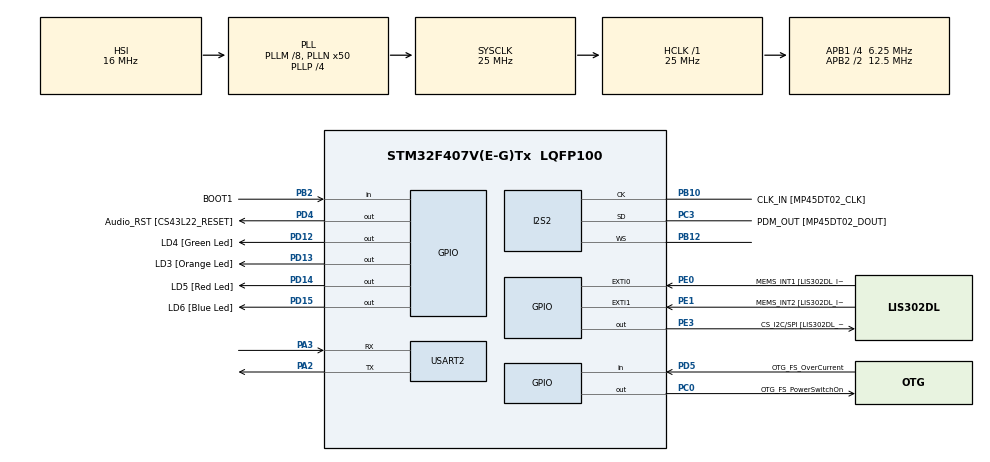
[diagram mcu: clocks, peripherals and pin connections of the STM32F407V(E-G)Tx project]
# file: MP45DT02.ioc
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I2S2.AudioFreq=I2S_AUDIOFREQ_192K
I2S2.ErrorAudioFreq=0.8 %
I2S2.Mode=I2S_MODE_MASTER_RX
I2S2.RealAudioFreq=193.548 KHz
Mcu.Family=STM32F4
Mcu.Name=STM32F407V(E-G)Tx
Mcu.Package=LQFP100
NVIC.PriorityGroup=NVIC_PRIORITYGROUP_0
PA10.GPIO_Label=OTG_FS_ID
PA10.GPIO_Mode=GPIO_MODE_AF_PP
PA10.GPIO_PuPd=GPIO_NOPULL
PA10.GPIO_Speed=GPIO_SPEED_FREQ_LOW
PA10.Signal=USB_OTG_FS_ID
PA11.GPIO_Label=OTG_FS_DM
PA11.GPIO_Mode=GPIO_MODE_AF_PP
PA11.GPIO_PuPd=GPIO_NOPULL
PA11.GPIO_Speed=GPIO_SPEED_FREQ_LOW
PA11.Signal=USB_OTG_FS_DM
PA12.GPIO_Label=OTG_FS_DP
PA12.GPIO_Mode=GPIO_MODE_AF_PP
PA12.GPIO_PuPd=GPIO_NOPULL
PA12.GPIO_Speed=GPIO_SPEED_FREQ_LOW
PA12.Signal=USB_OTG_FS_DP
PA13.GPIO_Label=SWDIO
PA13.Signal=SYS_JTMS-SWDIO
PA14.GPIO_Label=SWCLK
PA14.Signal=SYS_JTCK-SWCLK
PA2.Mode=Asynchronous
PA2.Signal=USART2_TX
PA3.Mode=Asynchronous
PA3.Signal=USART2_RX
PA4.GPIO_Label=I2S3_WS [CS43L22_LRCK]
PA4.GPIO_Mode=GPIO_MODE_AF_PP
PA4.GPIO_PuPd=GPIO_NOPULL
PA4.GPIO_Speed=GPIO_SPEED_FREQ_LOW
PA4.Signal=I2S3_WS
PA5.GPIO_Label=SPI1_SCK [LIS302DL_SCL/SPC]
PA5.GPIO_Mode=GPIO_MODE_AF_PP
PA5.GPIO_PuPd=GPIO_NOPULL
PA5.GPIO_Speed=GPIO_SPEED_FREQ_LOW
PA5.Signal=SPI1_SCK
PA6.GPIO_Label=SPI1_MISO [LIS302DL_SDO]
PA6.GPIO_Mode=GPIO_MODE_AF_PP
PA6.GPIO_PuPd=GPIO_NOPULL
PA6.GPIO_Speed=GPIO_SPEED_FREQ_LOW
PA6.Signal=SPI1_MISO
PA7.GPIO_Label=SPI1_MOSI [LIS302DL_SDA/SDI/SDO]
PA7.GPIO_Mode=GPIO_MODE_AF_PP
PA7.GPIO_PuPd=GPIO_NOPULL
PA7.GPIO_Speed=GPIO_SPEED_FREQ_LOW
PA7.Signal=SPI1_MOSI
PA9.GPIO_Label=VBUS_FS
PA9.GPIO_Mode=GPIO_MODE_INPUT
PA9.GPIO_PuPd=GPIO_NOPULL
PA9.Signal=USB_OTG_FS_VBUS
PB10.GPIO_Label=CLK_IN [MP45DT02_CLK]
PB10.GPIO_Mode=GPIO_MODE_AF_PP
PB10.GPIO_PuPd=GPIO_NOPULL
PB10.GPIO_Speed=GPIO_SPEED_FREQ_LOW
PB10.Mode=Half_Duplex_Master
PB10.Signal=I2S2_CK
PB12.Mode=Half_Duplex_Master
PB12.Signal=I2S2_WS
PB2.GPIO_Label=BOOT1
PB2.GPIO_Mode=GPIO_MODE_INPUT
PB2.GPIO_PuPd=GPIO_NOPULL
PB2.Signal=GPIO_Input
PB3.GPIO_Label=SWO
PB3.Signal=SYS_JTDO-SWO
PB6.GPIO_Label=Audio_SCL [CS43L22_SCL]
PB6.GPIO_Mode=GPIO_MODE_AF_OD
PB6.GPIO_PuPd=GPIO_NOPULL
PB6.GPIO_Speed=GPIO_SPEED_FREQ_LOW
PB6.Signal=I2C1_SCL
PB9.GPIO_Label=Audio_SDA [CS43L22_SDA]
PB9.GPIO_Mode=GPIO_MODE_AF_OD
PB9.GPIO_PuPd=GPIO_NOPULL
PB9.GPIO_Speed=GPIO_SPEED_FREQ_LOW
PB9.Signal=I2C1_SDA
PC0.GPIO_Label=OTG_FS_PowerSwitchOn
PC0.GPIO_PuPd=GPIO_NOPULL
PC0.GPIO_Speed=GPIO_SPEED_FREQ_LOW
PC0.PinState=GPIO_PIN_SET
PC0.Signal=GPIO_Output
PC10.GPIO_Label=I2S3_SCK [CS43L22_SCLK]
PC10.GPIO_Mode=GPIO_MODE_AF_PP
PC10.GPIO_PuPd=GPIO_NOPULL
PC10.GPIO_Speed=GPIO_SPEED_FREQ_LOW
PC10.Signal=I2S3_CK
PC12.GPIO_Label=I2S3_SD [CS43L22_SDIN]
PC12.GPIO_Mode=GPIO_MODE_AF_PP
PC12.GPIO_PuPd=GPIO_NOPULL
PC12.GPIO_Speed=GPIO_SPEED_FREQ_LOW
PC12.Signal=I2S3_SD
PC14-OSC32_IN.GPIO_Label=PC14-OSC32_IN
PC14-OSC32_IN.Signal=RCC_OSC32_IN
PC15-OSC32_OUT.GPIO_Label=PC15-OSC32_OUT
PC15-OSC32_OUT.Signal=RCC_OSC32_OUT
PC3.GPIO_Label=PDM_OUT [MP45DT02_DOUT]
PC3.GPIO_Mode=GPIO_MODE_AF_PP
PC3.GPIO_PuPd=GPIO_NOPULL
PC3.GPIO_Speed=GPIO_SPEED_FREQ_LOW
PC3.Mode=Half_Duplex_Master
PC3.Signal=I2S2_SD
PC7.GPIO_Label=I2S3_MCK [CS43L22_MCLK]
PC7.GPIO_Mode=GPIO_MODE_AF_PP
PC7.GPIO_PuPd=GPIO_NOPULL
PC7.GPIO_Speed=GPIO_SPEED_FREQ_LOW
PC7.Signal=I2S3_MCK
PD12.GPIO_Label=LD4 [Green Led]
PD12.GPIO_PuPd=GPIO_NOPULL
PD12.GPIO_Speed=GPIO_SPEED_FREQ_LOW
PD12.Signal=GPIO_Output
PD13.GPIO_Label=LD3 [Orange Led]
PD13.GPIO_PuPd=GPIO_NOPULL
PD13.GPIO_Speed=GPIO_SPEED_FREQ_LOW
PD13.Signal=GPIO_Output
PD14.GPIO_Label=LD5 [Red Led]
PD14.GPIO_PuPd=GPIO_NOPULL
PD14.GPIO_Speed=GPIO_SPEED_FREQ_LOW
PD14.Signal=GPIO_Output
PD15.GPIO_Label=LD6 [Blue Led]
PD15.GPIO_PuPd=GPIO_NOPULL
PD15.GPIO_Speed=GPIO_SPEED_FREQ_LOW
PD15.Signal=GPIO_Output
PD4.GPIO_Label=Audio_RST [CS43L22_RESET]
PD4.GPIO_PuPd=GPIO_NOPULL
PD4.GPIO_Speed=GPIO_SPEED_FREQ_LOW
PD4.Signal=GPIO_Output
PD5.GPIO_Label=OTG_FS_OverCurrent
PD5.GPIO_Mode=GPIO_MODE_INPUT
PD5.GPIO_PuPd=GPIO_NOPULL
PD5.Signal=GPIO_Input
PE0.GPIO_Label=MEMS_INT1 [LIS302DL_INT1]
PE0.Signal=GPXTI0
PE1.GPIO_Label=MEMS_INT2 [LIS302DL_INT2]
PE1.GPIO_ModeDefaultEXTI=GPIO_MODE_EVT_RISING
PE1.GPIO_PuPd=GPIO_NOPULL
PE1.Signal=GPXTI1
PE3.GPIO_Label=CS_I2C/SPI [LIS302DL_CS_I2C/SPI]
PE3.GPIO_PuPd=GPIO_NOPULL
PE3.GPIO_Speed=GPIO_SPEED_FREQ_LOW
PE3.Signal=GPIO_Output
PH0-OSC_IN.GPIO_Label=PH0-OSC_IN
PH0-OSC_IN.Signal=RCC_OSC_IN
PH1-OSC_OUT.GPIO_Label=PH1-OSC_OUT
PH1-OSC_OUT.Signal=RCC_OSC_OUT
ProjectManager.HeapSize=0x200
ProjectManager.StackSize=0x400
ProjectManager.TargetToolchain=MDK-ARM V5
RCC.48MHZClocksFreq_Value=14285714.285714285
RCC.AHBFreq_Value=25000000
RCC.APB1CLKDivider=RCC_HCLK_DIV4
RCC.APB1Freq_Value=6250000
RCC.APB1TimFreq_Value=12500000
RCC.APB2CLKDivider=RCC_HCLK_DIV2
RCC.APB2Freq_Value=12500000
RCC.APB2TimFreq_Value=25000000
RCC.CortexFreq_Value=25000000
RCC.HCLKFreq_Value=25000000
RCC.HSE_VALUE=8000000
RCC.HSI_VALUE=16000000
RCC.LSE_VALUE=32768
RCC.PLLM=8
RCC.PLLN=50
RCC.PLLP=RCC_PLLP_DIV4
RCC.PLLQ=7
RCC.SYSCLKFreq_VALUE=25000000
RCC.SYSCLKSource=RCC_SYSCLKSOURCE_PLLCLK
RCC.VCOOutputFreq_Value=100000000
board=STM32F407G-DISC1

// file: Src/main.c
/**
  ******************************************************************************
  * File Name          : main.c
  * Description        : Main program body
  ******************************************************************************
  *
  * COPYRIGHT(c) 2016 STMicroelectronics
  *
  * Redistribution and use in source and binary forms, with or without modification,
  * are permitted provided that the following conditions are met:
  *   1. Redistributions of source code must retain the above copyright notice,
  *      this list of conditions and the following disclaimer.
  *   2. Redistributions in binary form must reproduce the above copyright notice,
  *      this list of conditions and the following disclaimer in the documentation
  *      and/or other materials provided with the distribution.
  *   3. Neither the name of STMicroelectronics nor the names of its contributors
  *      may be used to endorse or promote products derived from this software
  *      without specific prior written permission.
  *
  * THIS SOFTWARE IS PROVIDED BY THE COPYRIGHT HOLDERS AND CONTRIBUTORS "AS IS"
  * AND ANY EXPRESS OR IMPLIED WARRANTIES, INCLUDING, BUT NOT LIMITED TO, THE
  * IMPLIED WARRANTIES OF MERCHANTABILITY AND FITNESS FOR A PARTICULAR PURPOSE ARE
  * DISCLAIMED. IN NO EVENT SHALL THE COPYRIGHT HOLDER OR CONTRIBUTORS BE LIABLE
  * FOR ANY DIRECT, INDIRECT, INCIDENTAL, SPECIAL, EXEMPLARY, OR CONSEQUENTIAL
  * DAMAGES (INCLUDING, BUT NOT LIMITED TO, PROCUREMENT OF SUBSTITUTE GOODS OR
  * SERVICES; LOSS OF USE, DATA, OR PROFITS; OR BUSINESS INTERRUPTION) HOWEVER
  * CAUSED AND ON ANY THEORY OF LIABILITY, WHETHER IN CONTRACT, STRICT LIABILITY,
  * OR TORT (INCLUDING NEGLIGENCE OR OTHERWISE) ARISING IN ANY WAY OUT OF THE USE
  * OF THIS SOFTWARE, EVEN IF ADVISED OF THE POSSIBILITY OF SUCH DAMAGE.
  *
  ******************************************************************************
  */
#include "main.h"
#include "stm32f4xx_hal.h"

/* USER CODE BEGIN Includes */
#include <string.h>
#include <limits.h>
/* USER CODE END Includes */

I2S_HandleTypeDef hi2s2;

UART_HandleTypeDef huart2;

/* USER CODE BEGIN PV */
/* Private variables ---------------------------------------------------------*/
#define PDM_BUFFER_SIZE 20
#define LEAKY_KEEP_RATE 0.95
#define PDM_BLOCK_SIZE_BITS 8
/* USER CODE END PV */

void SystemClock_Config(void);
void Error_Handler(void);
static void MX_GPIO_Init(void);
static void MX_I2S2_Init(void);
static void MX_USART2_UART_Init(void);

/* USER CODE BEGIN PFP */
/* Private function prototypes -----------------------------------------------*/
float float_abs(float);
int abs(int);
/* USER CODE END PFP */

/* USER CODE BEGIN 0 */
uint16_t pdm_buffer[PDM_BUFFER_SIZE]; // Buffer for pdm value from hi2s2 (Mic)
uint16_t pdm_value=0;
int8_t  pcm_value=0;                 // For keeping pcm value calculated from pdm_value

float leaky_pcm_buffer = 0.0;         // Fast Estimation of moving average of PDM
float leaky_amp_buffer = 0.0;         // Fast Estimation of moving average of abs(PCM)

/* USER CODE END 0 */

int main(void)
{

  /* USER CODE BEGIN 1 */
	uint32_t i;
	char out[100];
  uint16_t size = 0;
	float mx_amp = 0;
  uint16_t mx_count = 0;
  /* USER CODE END 1 */

  /* MCU Configuration----------------------------------------------------------*/

  /* Reset of all peripherals, Initializes the Flash interface and the Systick. */
  HAL_Init();

  /* Configure the system clock */
  SystemClock_Config();

  /* Initialize all configured peripherals */
  MX_GPIO_Init();
  MX_I2S2_Init();
  MX_USART2_UART_Init();

  /* USER CODE BEGIN 2 */
	HAL_GPIO_WritePin(GPIOD,GPIO_PIN_13,GPIO_PIN_SET);
  /* USER CODE END 2 */

  /* Infinite loop */
  while (1)
  {

  /* USER CODE BEGIN 3 */
		// Receive PDM from Mic
		HAL_I2S_Receive(&hi2s2, pdm_buffer, PDM_BUFFER_SIZE, 1000);

		for(i=0; i<PDM_BUFFER_SIZE; i++){
			pcm_value = - (PDM_BLOCK_SIZE_BITS/2);
      pdm_value = pdm_buffer[i];
      // calculate PCM value
      while ( pdm_value != 0 )                     // while pdm_value still have 1s in binary
      {
        pcm_value ++;
        pdm_value ^= pdm_value & -pdm_value;       // remove left most 1 in binary
      }
      leaky_pcm_buffer += pcm_value;
      leaky_pcm_buffer *= LEAKY_KEEP_RATE;
      leaky_amp_buffer += float_abs(leaky_pcm_buffer);
      leaky_amp_buffer *= LEAKY_KEEP_RATE;
		}
		mx_count++; // count sample
		if(mx_amp < leaky_amp_buffer) mx_amp = leaky_amp_buffer;
		if(mx_count == 1000){
    	size = sprintf(out, "volume : %d\n\r", (int)mx_amp);
    	HAL_UART_Transmit(&huart2, (uint8_t*)out, size, 100);
    	mx_count = 0;
    	mx_amp = 0;
    }
  }
  /* USER CODE END 3 */

}

/** System Clock Configuration
*/
void SystemClock_Config(void)
{

  RCC_OscInitTypeDef RCC_OscInitStruct;
  RCC_ClkInitTypeDef RCC_ClkInitStruct;
  RCC_PeriphCLKInitTypeDef PeriphClkInitStruct;

    /**Configure the main internal regulator output voltage
    */
  __HAL_RCC_PWR_CLK_ENABLE();

  __HAL_PWR_VOLTAGESCALING_CONFIG(PWR_REGULATOR_VOLTAGE_SCALE1);

    /**Initializes the CPU, AHB and APB busses clocks
    */
  RCC_OscInitStruct.OscillatorType = RCC_OSCILLATORTYPE_HSI;
  RCC_OscInitStruct.HSIState = RCC_HSI_ON;
  RCC_OscInitStruct.HSICalibrationValue = 16;
  RCC_OscInitStruct.PLL.PLLState = RCC_PLL_ON;
  RCC_OscInitStruct.PLL.PLLSource = RCC_PLLSOURCE_HSI;
  RCC_OscInitStruct.PLL.PLLM = 8;
  RCC_OscInitStruct.PLL.PLLN = 50;
  RCC_OscInitStruct.PLL.PLLP = RCC_PLLP_DIV4;
  RCC_OscInitStruct.PLL.PLLQ = 7;
  if (HAL_RCC_OscConfig(&RCC_OscInitStruct) != HAL_OK)
  {
    Error_Handler();
  }

    /**Initializes the CPU, AHB and APB busses clocks
    */
  RCC_ClkInitStruct.ClockType = RCC_CLOCKTYPE_HCLK|RCC_CLOCKTYPE_SYSCLK
                              |RCC_CLOCKTYPE_PCLK1|RCC_CLOCKTYPE_PCLK2;
  RCC_ClkInitStruct.SYSCLKSource = RCC_SYSCLKSOURCE_PLLCLK;
  RCC_ClkInitStruct.AHBCLKDivider = RCC_SYSCLK_DIV1;
  RCC_ClkInitStruct.APB1CLKDivider = RCC_HCLK_DIV4;
  RCC_ClkInitStruct.APB2CLKDivider = RCC_HCLK_DIV2;

  if (HAL_RCC_ClockConfig(&RCC_ClkInitStruct, FLASH_LATENCY_0) != HAL_OK)
  {
    Error_Handler();
  }

  PeriphClkInitStruct.PeriphClockSelection = RCC_PERIPHCLK_I2S;
  PeriphClkInitStruct.PLLI2S.PLLI2SN = 192;
  PeriphClkInitStruct.PLLI2S.PLLI2SR = 2;
  if (HAL_RCCEx_PeriphCLKConfig(&PeriphClkInitStruct) != HAL_OK)
  {
    Error_Handler();
  }

    /**Configure the Systick interrupt time
    */
  HAL_SYSTICK_Config(HAL_RCC_GetHCLKFreq()/1000);

    /**Configure the Systick
    */
  HAL_SYSTICK_CLKSourceConfig(SYSTICK_CLKSOURCE_HCLK);

  /* SysTick_IRQn interrupt configuration */
  HAL_NVIC_SetPriority(SysTick_IRQn, 0, 0);
}

/* I2S2 init function */
static void MX_I2S2_Init(void)
{

  hi2s2.Instance = SPI2;
  hi2s2.Init.Mode = I2S_MODE_MASTER_RX;
  hi2s2.Init.Standard = I2S_STANDARD_PHILIPS;
  hi2s2.Init.DataFormat = I2S_DATAFORMAT_16B;
  hi2s2.Init.MCLKOutput = I2S_MCLKOUTPUT_DISABLE;
  hi2s2.Init.AudioFreq = I2S_AUDIOFREQ_192K;
  hi2s2.Init.CPOL = I2S_CPOL_LOW;
  hi2s2.Init.ClockSource = I2S_CLOCK_PLL;
  hi2s2.Init.FullDuplexMode = I2S_FULLDUPLEXMODE_DISABLE;
  if (HAL_I2S_Init(&hi2s2) != HAL_OK)
  {
    Error_Handler();
  }

}

/* USART2 init function */
static void MX_USART2_UART_Init(void)
{

  huart2.Instance = USART2;
  huart2.Init.BaudRate = 115200;
  huart2.Init.WordLength = UART_WORDLENGTH_8B;
  huart2.Init.StopBits = UART_STOPBITS_1;
  huart2.Init.Parity = UART_PARITY_NONE;
  huart2.Init.Mode = UART_MODE_TX_RX;
  huart2.Init.HwFlowCtl = UART_HWCONTROL_NONE;
  huart2.Init.OverSampling = UART_OVERSAMPLING_16;
  if (HAL_UART_Init(&huart2) != HAL_OK)
  {
    Error_Handler();
  }

}

/** Configure pins as
        * Analog
        * Input
        * Output
        * EVENT_OUT
        * EXTI
     PA4   ------> I2S3_WS
     PA5   ------> SPI1_SCK
     PA6   ------> SPI1_MISO
     PA7   ------> SPI1_MOSI
     PC7   ------> I2S3_MCK
     PA9   ------> USB_OTG_FS_VBUS
     PA10   ------> USB_OTG_FS_ID
     PA11   ------> USB_OTG_FS_DM
     PA12   ------> USB_OTG_FS_DP
     PC10   ------> I2S3_CK
     PC12   ------> I2S3_SD
     PB6   ------> I2C1_SCL
     PB9   ------> I2C1_SDA
*/
static void MX_GPIO_Init(void)
{

  GPIO_InitTypeDef GPIO_InitStruct;

  /* GPIO Ports Clock Enable */
  __HAL_RCC_GPIOE_CLK_ENABLE();
  __HAL_RCC_GPIOC_CLK_ENABLE();
  __HAL_RCC_GPIOH_CLK_ENABLE();
  __HAL_RCC_GPIOA_CLK_ENABLE();
  __HAL_RCC_GPIOB_CLK_ENABLE();
  __HAL_RCC_GPIOD_CLK_ENABLE();

  /*Configure GPIO pin Output Level */
  HAL_GPIO_WritePin(CS_I2C_SPI_GPIO_Port, CS_I2C_SPI_Pin, GPIO_PIN_RESET);

  /*Configure GPIO pin Output Level */
  HAL_GPIO_WritePin(OTG_FS_PowerSwitchOn_GPIO_Port, OTG_FS_PowerSwitchOn_Pin, GPIO_PIN_SET);

  /*Configure GPIO pin Output Level */
  HAL_GPIO_WritePin(GPIOD, LD4_Pin|LD3_Pin|LD5_Pin|LD6_Pin
                          |Audio_RST_Pin, GPIO_PIN_RESET);

  /*Configure GPIO pin : CS_I2C_SPI_Pin */
  GPIO_InitStruct.Pin = CS_I2C_SPI_Pin;
  GPIO_InitStruct.Mode = GPIO_MODE_OUTPUT_PP;
  GPIO_InitStruct.Pull = GPIO_NOPULL;
  GPIO_InitStruct.Speed = GPIO_SPEED_FREQ_LOW;
  HAL_GPIO_Init(CS_I2C_SPI_GPIO_Port, &GPIO_InitStruct);

  /*Configure GPIO pin : OTG_FS_PowerSwitchOn_Pin */
  GPIO_InitStruct.Pin = OTG_FS_PowerSwitchOn_Pin;
  GPIO_InitStruct.Mode = GPIO_MODE_OUTPUT_PP;
  GPIO_InitStruct.Pull = GPIO_NOPULL;
  GPIO_InitStruct.Speed = GPIO_SPEED_FREQ_LOW;
  HAL_GPIO_Init(OTG_FS_PowerSwitchOn_GPIO_Port, &GPIO_InitStruct);

  /*Configure GPIO pin : PA4 */
  GPIO_InitStruct.Pin = GPIO_PIN_4;
  GPIO_InitStruct.Mode = GPIO_MODE_AF_PP;
  GPIO_InitStruct.Pull = GPIO_NOPULL;
  GPIO_InitStruct.Speed = GPIO_SPEED_FREQ_LOW;
  GPIO_InitStruct.Alternate = GPIO_AF6_SPI3;
  HAL_GPIO_Init(GPIOA, &GPIO_InitStruct);

  /*Configure GPIO pins : PA5 PA6 PA7 */
  GPIO_InitStruct.Pin = GPIO_PIN_5|GPIO_PIN_6|GPIO_PIN_7;
  GPIO_InitStruct.Mode = GPIO_MODE_AF_PP;
  GPIO_InitStruct.Pull = GPIO_NOPULL;
  GPIO_InitStruct.Speed = GPIO_SPEED_FREQ_LOW;
  GPIO_InitStruct.Alternate = GPIO_AF5_SPI1;
  HAL_GPIO_Init(GPIOA, &GPIO_InitStruct);

  /*Configure GPIO pin : BOOT1_Pin */
  GPIO_InitStruct.Pin = BOOT1_Pin;
  GPIO_InitStruct.Mode = GPIO_MODE_INPUT;
  GPIO_InitStruct.Pull = GPIO_NOPULL;
  HAL_GPIO_Init(BOOT1_GPIO_Port, &GPIO_InitStruct);

  /*Configure GPIO pins : LD4_Pin LD3_Pin LD5_Pin LD6_Pin
                           Audio_RST_Pin */
  GPIO_InitStruct.Pin = LD4_Pin|LD3_Pin|LD5_Pin|LD6_Pin
                          |Audio_RST_Pin;
  GPIO_InitStruct.Mode = GPIO_MODE_OUTPUT_PP;
  GPIO_InitStruct.Pull = GPIO_NOPULL;
  GPIO_InitStruct.Speed = GPIO_SPEED_FREQ_LOW;
  HAL_GPIO_Init(GPIOD, &GPIO_InitStruct);

  /*Configure GPIO pins : PC7 I2S3_SCK_Pin PC12 */
  GPIO_InitStruct.Pin = GPIO_PIN_7|I2S3_SCK_Pin|GPIO_PIN_12;
  GPIO_InitStruct.Mode = GPIO_MODE_AF_PP;
  GPIO_InitStruct.Pull = GPIO_NOPULL;
  GPIO_InitStruct.Speed = GPIO_SPEED_FREQ_LOW;
  GPIO_InitStruct.Alternate = GPIO_AF6_SPI3;
  HAL_GPIO_Init(GPIOC, &GPIO_InitStruct);

  /*Configure GPIO pin : VBUS_FS_Pin */
  GPIO_InitStruct.Pin = VBUS_FS_Pin;
  GPIO_InitStruct.Mode = GPIO_MODE_INPUT;
  GPIO_InitStruct.Pull = GPIO_NOPULL;
  HAL_GPIO_Init(VBUS_FS_GPIO_Port, &GPIO_InitStruct);

  /*Configure GPIO pins : OTG_FS_ID_Pin OTG_FS_DM_Pin OTG_FS_DP_Pin */
  GPIO_InitStruct.Pin = OTG_FS_ID_Pin|OTG_FS_DM_Pin|OTG_FS_DP_Pin;
  GPIO_InitStruct.Mode = GPIO_MODE_AF_PP;
  GPIO_InitStruct.Pull = GPIO_NOPULL;
  GPIO_InitStruct.Speed = GPIO_SPEED_FREQ_LOW;
  GPIO_InitStruct.Alternate = GPIO_AF10_OTG_FS;
  HAL_GPIO_Init(GPIOA, &GPIO_InitStruct);

  /*Configure GPIO pin : OTG_FS_OverCurrent_Pin */
  GPIO_InitStruct.Pin = OTG_FS_OverCurrent_Pin;
  GPIO_InitStruct.Mode = GPIO_MODE_INPUT;
  GPIO_InitStruct.Pull = GPIO_NOPULL;
  HAL_GPIO_Init(OTG_FS_OverCurrent_GPIO_Port, &GPIO_InitStruct);

  /*Configure GPIO pins : Audio_SCL_Pin Audio_SDA_Pin */
  GPIO_InitStruct.Pin = Audio_SCL_Pin|Audio_SDA_Pin;
  GPIO_InitStruct.Mode = GPIO_MODE_AF_OD;
  GPIO_InitStruct.Pull = GPIO_PULLUP;
  GPIO_InitStruct.Speed = GPIO_SPEED_FREQ_LOW;
  GPIO_InitStruct.Alternate = GPIO_AF4_I2C1;
  HAL_GPIO_Init(GPIOB, &GPIO_InitStruct);

  /*Configure GPIO pin : MEMS_INT1_Pin */
  GPIO_InitStruct.Pin = MEMS_INT1_Pin;
  GPIO_InitStruct.Mode = GPIO_MODE_IT_RISING;
  GPIO_InitStruct.Pull = GPIO_NOPULL;
  HAL_GPIO_Init(MEMS_INT1_GPIO_Port, &GPIO_InitStruct);

  /*Configure GPIO pin : MEMS_INT2_Pin */
  GPIO_InitStruct.Pin = MEMS_INT2_Pin;
  GPIO_InitStruct.Mode = GPIO_MODE_EVT_RISING;
  GPIO_InitStruct.Pull = GPIO_NOPULL;
  HAL_GPIO_Init(MEMS_INT2_GPIO_Port, &GPIO_InitStruct);

}

/* USER CODE BEGIN 4 */
float float_abs(float a){
	return (a < 0) ? (-a) : (a);
}
int abs(int a){
	return (a < 0) ? (-a) : (a);
}
/* USER CODE END 4 */

void Error_Handler(void)
{
  while(1)
  {
  }
}

/************************ (C) COPYRIGHT STMicroelectronics *****END OF FILE****/
